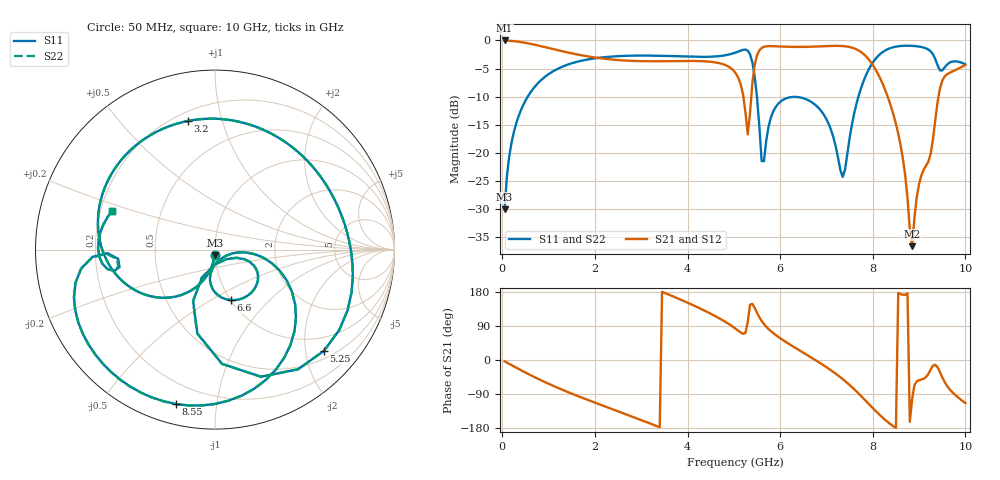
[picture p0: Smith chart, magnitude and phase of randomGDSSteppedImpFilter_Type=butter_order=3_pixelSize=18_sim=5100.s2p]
! freq	dB(S11)	phase(S11)	dB(S12)	phase(S12)
!  dB(S21)	phase(S21)	dB(S22)	phase(S22)
!S-par simulation data
#  GHz  S  DB  R 50
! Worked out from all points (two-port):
!   200 points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, 50 MHz to 10 GHz, reference 50 ohm
!   highest |S21| = -0.01 dB at 50 MHz (marker M1); lowest = -36.6 dB at 8.85 GHz (marker M2)
!   |S21| within 3 dB of the highest: start of sweep to 1.971 GHz; 5.49 GHz to 7.873 GHz (2.383 GHz wide, 35.7 % of centre)
!   lowest |S11| = -30.1 dB at 50 MHz (marker M3), VSWR 1.06, Z = 49.7 - j3.11 ohm
!   |S11| at or under -10 dB: start of sweep to 549.7 MHz; 5.498 GHz to 7.69 GHz (2.192 GHz wide, 33.2 % of centre)
!   |S22| runs from -30.1 to -0.9 dB; largest |S21 - S12| = 0
!   S11 on the Smith chart (normalised r, x): 50 MHz: 0.99, -0.06; 3.2 GHz: 0.25, +0.78; 5.25 GHz: 0.66, -2.39; 6.6 GHz: 1.00, -0.62; 8.55 GHz: 0.10, -0.77; 10 GHz: 0.25, +0.17
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0.05  -30.08 -93.5  -0.01 -3.4  -0.01 -3.4  -30.08 -93.5
0.2  -18.17 -104.0  -0.09 -13.5  -0.09 -13.5  -18.17 -104.0
0.5  -10.72 -123.6  -0.43 -33.1  -0.43 -33.1  -10.72 -123.6
1.75  -3.54 168.6  -2.71 -100.8  -2.71 -100.8  -3.54 168.6
3.2  -2.70 101.8  -3.71 -167.8  -3.71 -167.8  -2.70 101.8
3.4  -2.73 92.1  -3.71 -177.6  -3.71 -177.6  -2.73 92.1
4.3  -2.93 44.3  -3.69 134.3  -3.69 134.3  -2.93 44.3
5.05  -2.12 -11.4  -5.96 81.5  -5.96 81.5  -2.12 -11.4
5.25  -1.63 -42.9  -12.73 71.4  -12.73 71.4  -1.63 -42.9
5.3  -1.81 -55.3  -16.73 100.6  -16.73 100.6  -1.82 -55.3
5.45  -6.41 -101.8  -4.38 137.4  -4.38 137.4  -6.42 -102.0
5.6  -21.46 -91.3  -1.34 103.2  -1.34 103.2  -21.60 -91.5
5.95  -11.34 -28.9  -1.07 61.8  -1.07 61.8  -11.34 -28.6
6.6  -10.61 -72.7  -1.14 12.0  -1.14 12.0  -10.61 -72.5
6.7  -11.09 -79.1  -1.11 4.5  -1.11 4.5  -11.09 -79.0
7.35  -24.29 -55.5  -1.00 -50.4  -1.00 -50.4  -24.21 -55.4
7.95  -4.60 -40.0  -3.78 -120.6  -3.78 -120.6  -4.60 -40.0
8.35  -1.46 -84.9  -10.67 -166.4  -10.67 -166.4  -1.46 -84.9
8.55  -1.04 -104.3  -16.61 177.0  -16.61 177.0  -1.04 -104.2
8.85  -0.97 -130.2  -36.61 -103.1  -36.61 -103.1  -0.96 -130.1
9.45  -5.33 -174.5  -8.57 -31.7  -8.57 -31.7  -5.22 -174.5
10  -4.27 159.3  -4.35 -113.8  -4.35 -113.8  -4.26 159.3
